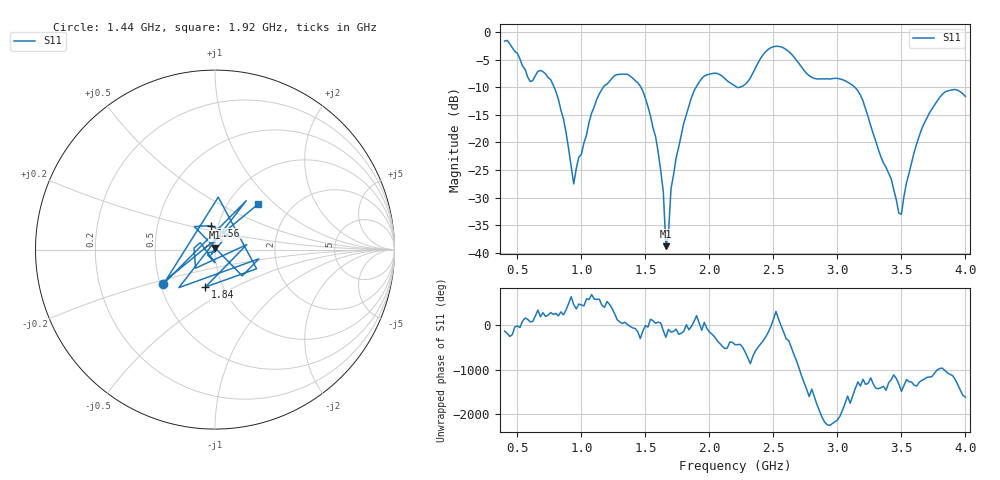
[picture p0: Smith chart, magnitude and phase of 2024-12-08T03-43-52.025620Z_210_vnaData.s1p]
!Created with skrf (http://scikit-rf.org).
# Hz S RI R 50.0
!freq ReS11 ImS11
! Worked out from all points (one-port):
!   181 points, 400 MHz to 4 GHz, reference 50 ohm
!   lowest |S11| = -38.8 dB at 1.66 GHz (marker M1), VSWR 1.02, Z = 50.1 + j1.15 ohm
!   |S11| at or under -10 dB: 786.7 MHz to 1.171 GHz (384.7 MHz wide, 39.3 % of centre); 1.465 GHz to 1.896 GHz (431.6 MHz wide, 25.7 % of centre); 3.136 GHz to end of sweep (the widest 3 of 4)
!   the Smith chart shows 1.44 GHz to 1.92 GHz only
!   S11 on the Smith chart (normalised r, x): 1.44 GHz: 0.52, -0.23; 1.56 GHz: 0.93, +0.25; 1.84 GHz: 0.83, -0.36; 1.92 GHz: 1.37, +0.80
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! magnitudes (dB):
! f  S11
! 400 MHz  -1.6
! 600 MHz  -9.0
! 760 MHz  -8.6
! 860 MHz  -15.8
! 940 MHz  -27.5
! 1.12 GHz  -12.2
! 1.3 GHz  -7.7
! 1.44 GHz  -9.2
! 1.56 GHz  -17.4
! 1.64 GHz  -29.0
! 1.66 GHz  -38.8
! 1.68 GHz  -36.6
! 1.7 GHz  -28.4
! 1.76 GHz  -20.9
! 1.84 GHz  -13.3
! 1.92 GHz  -9.1
! 2.2 GHz  -9.8
! 2.48 GHz  -2.9
! 2.66 GHz  -4.5
! 2.8 GHz  -8.2
! 3.1 GHz  -9.4
! 3.2 GHz  -12.5
! 3.48 GHz  -32.8
! 3.5 GHz  -33.0
! 3.56 GHz  -25.5
! 3.66 GHz  -17.5
! 3.8 GHz  -11.8
! 4 GHz  -11.7
